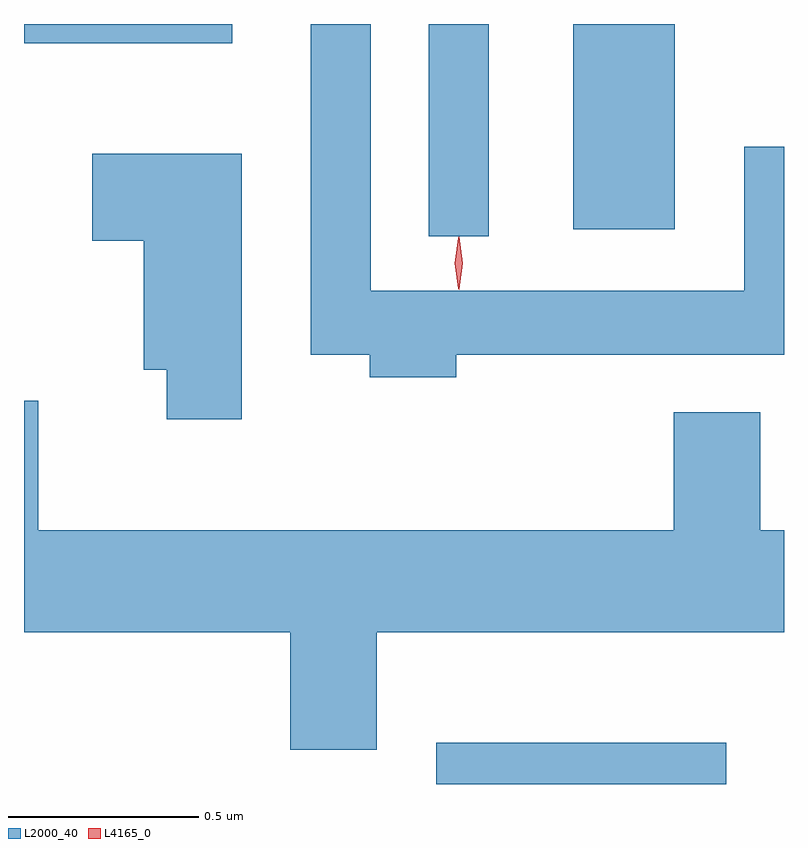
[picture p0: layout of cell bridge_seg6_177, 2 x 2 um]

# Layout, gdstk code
import gdstk
lib = gdstk.Library(unit=1e-6, precision=1e-09)
def R(c, l, rs):  # rectangles x0, y0, x1, y1
    for r in rs: c.add(gdstk.rectangle(r[:2], r[2:], *l))
def P(c, l, *ps):  # polygons
    for p in ps: c.add(gdstk.Polygon(p, *l))
L2000_40 = (2000, 40)
L4165_0 = (4165, 0)

bridge_seg6_177 = lib.new_cell('bridge_seg6_177')
R(bridge_seg6_177, L2000_40, [(1109.186,1574.056,1109.949,1574.164), (1109.166,1575.498,1109.324,1576.056), (1109.546,1575.516,1109.814,1576.056), (1108.101,1576.006,1108.649,1576.056)])
P(bridge_seg6_177, L2000_40, [(1109.239,1575.186),(1110.101,1575.186),(1110.101,1575.733),(1109.996,1575.733),(1109.996,1575.354),(1109.014,1575.354),(1109.014,1576.056),(1108.856,1576.056),(1108.856,1575.186),(1109.011,1575.186),(1109.011,1575.126),(1109.239,1575.126)],
  [(1108.674,1575.714),(1108.281,1575.714),(1108.281,1575.486),(1108.416,1575.486),(1108.416,1575.146),(1108.476,1575.146),(1108.476,1575.016),(1108.674,1575.016)],
  [(1109.029,1574.456),(1110.101,1574.456),(1110.101,1574.724),(1110.039,1574.724),(1110.039,1575.034),(1109.811,1575.034),(1109.811,1574.724),(1108.139,1574.724),(1108.139,1575.064),(1108.101,1575.064),(1108.101,1574.456),(1108.801,1574.456),(1108.801,1574.146),(1109.029,1574.146)])
P(bridge_seg6_177, L4165_0, [(1109.246,1575.357),(1109.245,1575.358),(1109.236,1575.427),(1109.245,1575.496),(1109.246,1575.496),(1109.246,1575.496),(1109.256,1575.427),(1109.246,1575.358)],
  [(1109.244,1575.359),(1109.244,1575.36),(1109.234,1575.426),(1109.244,1575.492),(1109.244,1575.493),(1109.245,1575.492),(1109.254,1575.426),(1109.245,1575.36)])

lib.write_gds('bridge_seg6_177.gds')
